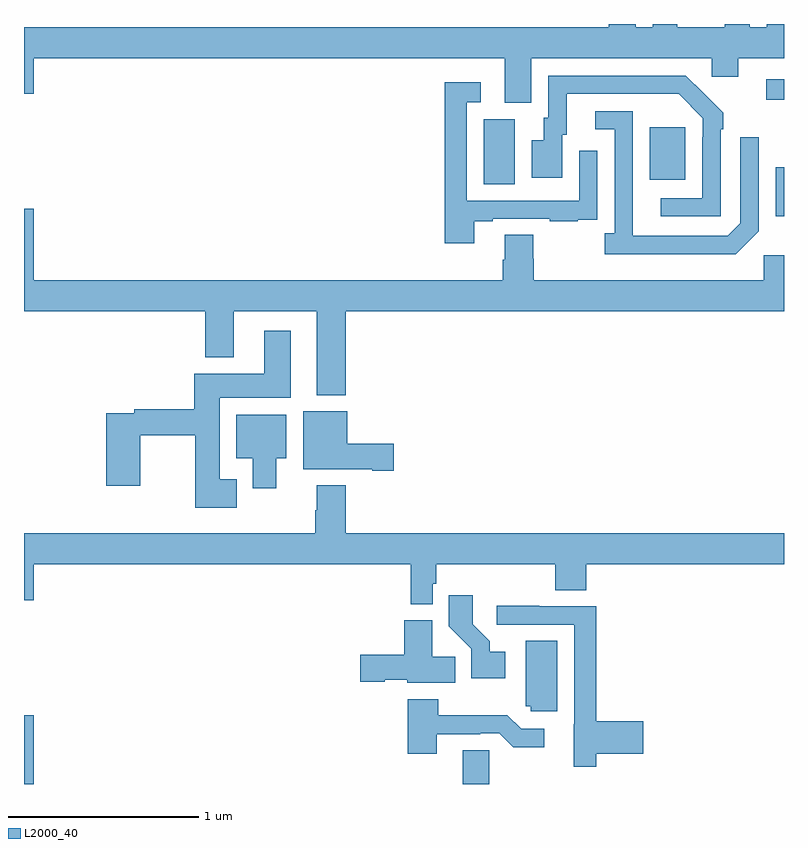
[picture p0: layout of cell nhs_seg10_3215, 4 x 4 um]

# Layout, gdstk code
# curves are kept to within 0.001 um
import gdstk
lib = gdstk.Library(unit=1e-6, precision=1e-09)
def R(c, l, rs):  # rectangles x0, y0, x1, y1
    for r in rs: c.add(gdstk.rectangle(r[:2], r[2:], *l))
def P(c, l, *ps):  # polygons
    for p in ps: c.add(gdstk.Polygon(p, *l))
L2000_40 = (2000, 40)

nhs_seg10_3215 = lib.new_cell('nhs_seg10_3215')
R(nhs_seg10_3215, L2000_40, [(285,1292.5,285.052,1292.863), (287.309,1292.5,287.448,1292.678), (288.956,1295.489,289,1295.746), (287.42,1295.656,287.584,1296), (288.293,1295.681,288.481,1295.956), (288.906,1296.102,289,1296.21)])
P(nhs_seg10_3215, L2000_40, [(287.671,1296.32),(288.621,1296.32),(288.621,1296.222),(288.76,1296.222),(288.76,1296.32),(289,1296.32),(289,1296.5),(288.908,1296.5),(288.908,1296.484),(288.82,1296.484),(288.82,1296.5),(288.689,1296.5),(288.689,1296.484),(288.439,1296.484),(288.439,1296.5),(288.308,1296.5),(288.308,1296.484),(288.22,1296.484),(288.22,1296.5),(288.077,1296.5),(288.077,1296.484),(285,1296.484),(285,1296.132),(285.052,1296.132),(285.052,1296.32),(287.531,1296.32),(287.531,1296.085),(287.671,1296.085)],
  [(288.666,1295.945),(288.681,1295.945),(288.681,1296.033),(288.484,1296.228),(287.76,1296.228),(287.76,1296.006),(287.735,1296.006),(287.735,1295.887),(287.672,1295.887),(287.672,1295.691),(287.833,1295.691),(287.833,1295.916),(287.857,1295.916),(287.857,1296.132),(288.445,1296.132),(288.573,1296.003),(288.573,1295.903),(288.57,1295.903),(288.57,1295.583),(288.351,1295.583),(288.351,1295.487),(288.666,1295.487)],
  [(287.371,1295.463),(287.467,1295.463),(287.467,1295.475),(287.767,1295.475),(287.767,1295.463),(287.915,1295.463),(287.915,1295.469),(288.017,1295.469),(288.017,1295.578),(288.018,1295.578),(288.018,1295.833),(287.922,1295.833),(287.922,1295.571),(287.331,1295.571),(287.331,1296.087),(287.404,1296.087),(287.404,1296.193),(287.215,1296.193),(287.215,1295.346),(287.371,1295.346)],
  [(288.867,1295.409),(288.867,1295.905),(288.771,1295.905),(288.771,1295.451),(288.705,1295.385),(288.205,1295.385),(288.204,1296.042),(288.006,1296.042),(288.006,1295.946),(288.108,1295.946),(288.108,1295.398),(288.057,1295.398),(288.057,1295.288),(288.746,1295.288)],
  [(286.694,1294.988),(289,1294.988),(289,1295.284),(288.894,1295.284),(288.894,1295.152),(287.684,1295.152),(287.684,1295.265),(287.679,1295.265),(287.679,1295.39),(287.531,1295.39),(287.531,1295.258),(287.519,1295.258),(287.519,1295.152),(285.052,1295.152),(285.052,1295.527),(285,1295.527),(285,1294.988),(285.953,1294.988),(285.953,1294.745),(286.105,1294.745),(286.105,1294.988),(286.541,1294.988),(286.541,1294.547),(286.694,1294.547)],
  [(286.12,1294.105),(286.03,1294.105),(286.03,1294.532),(286.405,1294.532),(286.405,1294.885),(286.265,1294.885),(286.265,1294.66),(285.896,1294.66),(285.896,1294.472),(285.58,1294.472),(285.58,1294.452),(285.434,1294.452),(285.434,1294.071),(285.612,1294.071),(285.612,1294.336),(285.901,1294.336),(285.901,1293.953),(286.12,1293.953)],
  [(286.945,1294.292),(286.702,1294.292),(286.702,1294.462),(286.469,1294.462),(286.469,1294.157),(286.832,1294.157),(286.832,1294.15),(286.945,1294.15)],
  [(286.327,1294.214),(286.381,1294.214),(286.381,1294.444),(286.118,1294.444),(286.118,1294.214),(286.205,1294.214),(286.205,1294.056),(286.327,1294.056)],
  [(287.151,1293.555),(287.171,1293.555),(287.171,1293.656),(287.795,1293.656),(287.795,1293.52),(287.96,1293.52),(287.96,1293.656),(289,1293.656),(289,1293.82),(286.694,1293.82),(286.694,1294.072),(286.541,1294.072),(286.541,1293.941),(286.534,1293.941),(286.534,1293.82),(285,1293.82),(285,1293.468),(285.052,1293.468),(285.052,1293.656),(287.035,1293.656),(287.035,1293.446),(287.151,1293.446)],
  [(287.533,1293.196),(287.452,1293.196),(287.452,1293.251),(287.362,1293.341),(287.362,1293.493),(287.236,1293.493),(287.236,1293.33),(287.355,1293.211),(287.355,1293.056),(287.533,1293.056)],
  [(288.011,1292.66),(288.259,1292.66),(288.259,1292.831),(288.011,1292.831),(288.011,1293.435),(287.711,1293.435),(287.711,1293.438),(287.487,1293.438),(287.487,1293.339),(287.895,1293.339),(287.895,1292.814),(287.894,1292.814),(287.894,1292.592),(288.011,1292.592)],
  [(287.27,1293.17),(287.149,1293.17),(287.149,1293.361),(287,1293.361),(287,1293.18),(286.77,1293.18),(286.77,1293.038),(286.899,1293.038),(286.899,1293.05),(287.016,1293.05),(287.016,1293.032),(287.27,1293.032)],
  [(287.806,1293.254),(287.642,1293.254),(287.642,1292.91),(287.667,1292.91),(287.667,1292.883),(287.806,1292.883)],
  [(287.173,1292.763),(287.402,1292.763),(287.402,1292.766),(287.502,1292.766),(287.575,1292.693),(287.737,1292.693),(287.737,1292.79),(287.616,1292.79),(287.543,1292.863),(287.181,1292.863),(287.181,1292.947),(287.021,1292.947),(287.021,1292.658),(287.173,1292.658)])

lib.write_gds('nhs_seg10_3215.gds')
